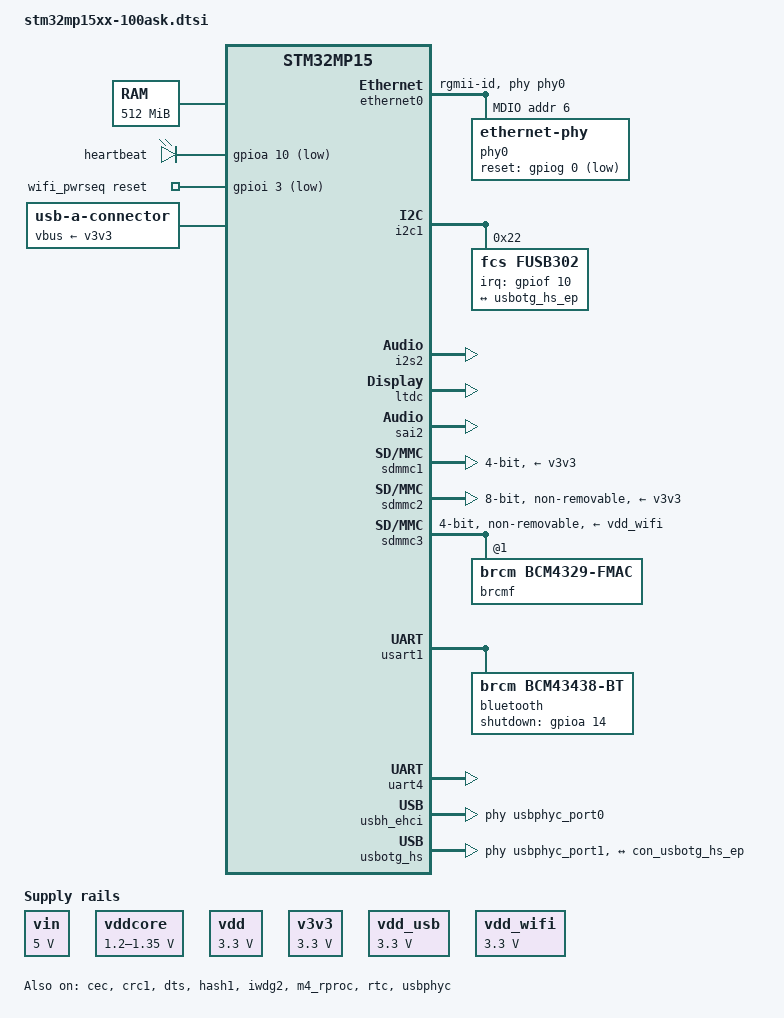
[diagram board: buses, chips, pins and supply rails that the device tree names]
// SPDX-License-Identifier: (GPL-2.0+ OR BSD-3-Clause)
/*
 * Copyright (C) STMicroelectronics 2019 - All Rights Reserved
 * Author: Alexandre Torgue <alexandre.torgue@st.com> for STMicroelectronics.
 */

#include "stm32mp15-m4-srm.dtsi"
#include "stm32mp15-m4-srm-pinctrl.dtsi"
#include <dt-bindings/gpio/gpio.h>
#include <dt-bindings/mfd/st,stpmic1.h>
#include <dt-bindings/net/qca-ar803x.h>
#include <dt-bindings/rtc/rtc-stm32.h>

/ {
	memory@c0000000 {
		device_type = "memory";
		reg = <0xc0000000 0x20000000>;
	};

	reserved-memory {
		#address-cells = <1>;
		#size-cells = <1>;
		ranges;

		mcuram2: mcuram2@10000000 {
			compatible = "shared-dma-pool";
			reg = <0x10000000 0x40000>;
			no-map;
		};

		vdev0vring0: vdev0vring0@10040000 {
			compatible = "shared-dma-pool";
			reg = <0x10040000 0x1000>;
			no-map;
		};

		vdev0vring1: vdev0vring1@10041000 {
			compatible = "shared-dma-pool";
			reg = <0x10041000 0x1000>;
			no-map;
		};

		vdev0buffer: vdev0buffer@10042000 {
			compatible = "shared-dma-pool";
			reg = <0x10042000 0x4000>;
			no-map;
		};

		mcu_rsc_table: mcu_rsc_table@10048000 {
			compatible = "shared-dma-pool";
			reg = <0x10048000 0x8000>;
			no-map;
		};

		mcuram: mcuram@30000000 {
			compatible = "shared-dma-pool";
			reg = <0x30000000 0x40000>;
			no-map;
		};

		retram: retram@38000000 {
			compatible = "shared-dma-pool";
			reg = <0x38000000 0x10000>;
			no-map;
		};

		gpu_reserved: gpu@d4000000 {
			reg = <0xd4000000 0x4000000>;
			no-map;
		};

		optee@de000000 {
			reg = <0xde000000 0x2000000>;
			no-map;
		};
	};

	led {
		compatible = "gpio-leds";
		led-blue {
			label = "heartbeat";
			gpios = <&gpioa 10 GPIO_ACTIVE_LOW>;
			linux,default-trigger = "heartbeat";
			default-state = "off";
		};
	};

	vin: vin {
		compatible = "regulator-fixed";
		regulator-name = "vin";
		regulator-min-microvolt = <5000000>;
		regulator-max-microvolt = <5000000>;
		regulator-always-on;
	};

	vddcore: regulator-vddcore {
		compatible = "regulator-fixed";
		regulator-name = "vddcore";
		regulator-min-microvolt = <1200000>;
		regulator-max-microvolt = <1350000>;
		regulator-always-on;
	};

	vdd: regulator-vdd {
		compatible = "regulator-fixed";
		regulator-name = "vdd";
		regulator-min-microvolt = <3300000>;
		regulator-max-microvolt = <3300000>;
		regulator-always-on;
		regulator-boot-on;
	};
	
	v3v3: regulator-v3v3 {
		compatible = "regulator-fixed";
		regulator-name = "v3v3";
		regulator-min-microvolt = <3300000>;
		regulator-max-microvolt = <3300000>;
		regulator-always-on;
		regulator-boot-on;
	};

		
	vdd_usb: regulator-vdd-usb {
		compatible = "regulator-fixed";
		regulator-name = "vdd_usb";
		regulator-min-microvolt = <3300000>;
		regulator-max-microvolt = <3300000>;
		regulator-always-on;
		regulator-boot-on;
	};

	vdd_wifi: regulator-vdd-wifi {
		pinctrl-names = "default";
		pinctrl-0 = <&vdd_wifi_pins_a>;
		compatible = "regulator-fixed";
		regulator-name = "vdd_wifi";
		regulator-min-microvolt = <3300000>;
		regulator-max-microvolt = <3300000>;
		startup-delay-us = <70000>;
		regulator-boot-on;
		regulator-pull-down;
	 };

	wifi_pwrseq: wifi-pwrseq {
		compatible = "mmc-pwrseq-simple";
		reset-gpios = <&gpioi 3 GPIO_ACTIVE_LOW>;
	};
};

&cec {
	pinctrl-names = "default", "sleep";
	pinctrl-0 = <&cec_pins_b>;
	pinctrl-1 = <&cec_sleep_pins_b>;
	status = "okay";
};

&cpu0{
	cpu-supply = <&vddcore>;
};

&cpu1{
	cpu-supply = <&vddcore>;
};

&crc1 {
	status = "okay";
};

&dma1 {
	sram = <&dma_pool>;
};

&dma2 {
	sram = <&dma_pool>;
};

&dts {
	status = "okay";
};

&ethernet0 {
	status = "okay";
	pinctrl-0 = <&ethernet0_rgmii_pins_a>;
	pinctrl-1 = <&ethernet0_rgmii_sleep_pins_a>;
	pinctrl-names = "default", "sleep";
	phy-mode = "rgmii-id";
	max-speed = <1000>;
	phy-handle = <&phy0>;
	nvmem-cells = <&ethernet_mac_address>;
	nvmem-cell-names = "mac-address";

	mdio0 {
		#address-cells = <1>;
		#size-cells = <0>;
		compatible = "snps,dwmac-mdio";
		phy0: ethernet-phy@6 {
			reg = <6>;
			reset-gpios = <&gpiog 0 GPIO_ACTIVE_LOW>;
			reset-assert-us = <2000>;
			reset-deassert-us = <2000>;
			
			qca,clk-out-frequency = <125000000>;
			qca,keep-pll-enabled;
		};
	};
};

&gpu {
	contiguous-area = <&gpu_reserved>;
};

&hash1 {
	status = "okay";
};

&i2c1 {
	pinctrl-names = "default", "sleep";
	pinctrl-0 = <&i2c1_pins_b>;
	pinctrl-1 = <&i2c1_sleep_pins_b>;
	i2c-scl-rising-time-ns = <100>;
	i2c-scl-falling-time-ns = <7>;
	status = "okay";
	/delete-property/dmas;
	/delete-property/dma-names;

	fusb302@22 {
		compatible = "fcs,fusb302", "st,stusb1600";
		reg = <0x22>;
		interrupts = <10 IRQ_TYPE_EDGE_FALLING>;
		interrupt-parent = <&gpiof>;
		pinctrl-names = "default";
		pinctrl-0 = <&fusb302_pins_a>;
		status = "okay";
	
		typec_con: connector {
			compatible = "usb-c-connector";
			label = "USB-C";
			power-role = "dual";
			power-opmode = "default";

			port {
				con_usbotg_hs_ep: endpoint {
					remote-endpoint = <&usbotg_hs_ep>;
				};
			};
		};
	};
};

&i2c4 {
	pinctrl-names = "default", "sleep";
	pinctrl-0 = <&i2c4_pins_a>;
	pinctrl-1 = <&i2c4_sleep_pins_a>;
	i2c-scl-rising-time-ns = <185>;
	i2c-scl-falling-time-ns = <20>;
	clock-frequency = <400000>;
	status = "disabled";
	/* spare dmas for other usage */
	/delete-property/dmas;
	/delete-property/dma-names;
};

&i2c5 {
	pinctrl-names = "default", "sleep";
	pinctrl-0 = <&i2c5_pins_a>;
	pinctrl-1 = <&i2c5_sleep_pins_a>;
	i2c-scl-rising-time-ns = <185>;
	i2c-scl-falling-time-ns = <20>;
	clock-frequency = <400000>;
	/* spare dmas for other usage */
	/delete-property/dmas;
	/delete-property/dma-names;
	status = "disabled";
};

&i2s2 {
	clocks = <&rcc SPI2>, <&rcc SPI2_K>, <&rcc PLL3_Q>, <&rcc PLL3_R>;
	clock-names = "pclk", "i2sclk", "x8k", "x11k";
	pinctrl-names = "default", "sleep";
	pinctrl-0 = <&i2s2_pins_a>;
	pinctrl-1 = <&i2s2_sleep_pins_a>;
	status = "okay";
};

&ipcc {
	status = "okay";
};

&iwdg2 {
	timeout-sec = <32>;
	status = "okay";
};

&ltdc {
	pinctrl-names = "default", "sleep";
	pinctrl-0 = <&ltdc_pins_a>;
	pinctrl-1 = <&ltdc_sleep_pins_a>;
	status = "okay";
};

&m4_rproc {
	memory-region = <&retram>, <&mcuram>, <&mcuram2>, <&vdev0vring0>,
			<&vdev0vring1>, <&vdev0buffer>, <&mcu_rsc_table>;
	mboxes = <&ipcc 0>, <&ipcc 1>, <&ipcc 2>, <&ipcc 3>;
	mbox-names = "vq0", "vq1", "shutdown", "detach";
	interrupt-parent = <&exti>;
	interrupts = <68 1>;
	wakeup-source;
	status = "okay";
};

&pwr_regulators {
	vdd-supply = <&vdd>;
	vdd_3v3_usbfs-supply = <&vdd_usb>;
};

&rtc {
	st,lsco = <RTC_OUT2_RMP>;
	pinctrl-0 = <&rtc_out2_rmp_pins_a>;
	pinctrl-names = "default";
	status = "okay";
};

&sai2 {
	clocks = <&rcc SAI2>, <&rcc PLL3_Q>, <&rcc PLL3_R>;
	clock-names = "pclk", "x8k", "x11k";
	pinctrl-names = "default", "sleep";
	pinctrl-0 = <&sai2a_pins_a>, <&sai2b_pins_b>;
	pinctrl-1 = <&sai2a_sleep_pins_a>, <&sai2b_sleep_pins_b>;
	status = "okay";
};

&sdmmc1 {
	pinctrl-names = "default", "opendrain", "sleep";
	pinctrl-0 = <&sdmmc1_b4_pins_a>;
	pinctrl-1 = <&sdmmc1_b4_od_pins_a>;
	pinctrl-2 = <&sdmmc1_b4_sleep_pins_a>;
	broken-cd;
	st,neg-edge;
	bus-width = <4>;
	vmmc-supply = <&v3v3>;
	status = "okay";
};

&sdmmc2 {
	pinctrl-names = "default", "opendrain", "sleep";
	pinctrl-0 = <&sdmmc2_b4_pins_a &sdmmc2_d47_pins_a>;
	pinctrl-1 = <&sdmmc2_b4_od_pins_a &sdmmc2_d47_pins_a>;
	pinctrl-2 = <&sdmmc2_b4_sleep_pins_a &sdmmc2_d47_sleep_pins_a>;
	non-removable;
	no-sd;
	no-sdio;
	st,dirpol;
	st,negedge; 
	bus-width = <8>;
	vmmc-supply = <&v3v3>;
	vqmmc-supply = <&v3v3>;
	status = "okay";
};

&sdmmc3 {
	pinctrl-names = "default", "opendrain", "sleep";
	pinctrl-0 = <&sdmmc3_b4_pins_a>;
	pinctrl-1 = <&sdmmc3_b4_od_pins_a>;
	pinctrl-2 = <&sdmmc3_b4_sleep_pins_a>;
	arm,primecell-periphid = <0x10153180>;
	non-removable;
	st,neg-edge;
	bus-width = <4>;
	vmmc-supply = <&vdd_wifi>;
	mmc-pwrseq = <&wifi_pwrseq>;
	#address-cells = <1>;
	#size-cells = <0>;
	keep-power-in-suspend;
	status = "okay";

	brcmf: bcrmf@1 {
		reg = <1>;
		compatible = "brcm,bcm4329-fmac";
	};
};

&spi4 {
	pinctrl-names = "default", "sleep";
	pinctrl-0 = <&spi4_pins_b>;
	pinctrl-1 = <&spi4_sleep_pins_b>;
	status = "disabled";
};

&spi5 {
	pinctrl-names = "default", "sleep";
	pinctrl-0 = <&spi5_pins_a>;
	pinctrl-1 = <&spi5_sleep_pins_a>;
	status = "disabled";
};

&sram {
	dma_pool: dma_pool@0 {
		reg = <0x50000 0x10000>;
		pool;
	};
};

&timers1 {
	/* spare dmas for other usage */
	/delete-property/dmas;
	/delete-property/dma-names;
	status = "disabled";
	pwm {
		pinctrl-0 = <&pwm1_pins_a>;
		pinctrl-1 = <&pwm1_sleep_pins_a>;
		pinctrl-names = "default", "sleep";
		status = "okay";
	};
	timer@0 {
		status = "okay";
	};
};

&timers3 {
	/delete-property/dmas;
	/delete-property/dma-names;
	status = "disabled";
	pwm {
		pinctrl-0 = <&pwm3_pins_a>;
		pinctrl-1 = <&pwm3_sleep_pins_a>;
		pinctrl-names = "default", "sleep";
		status = "okay";
	};
	timer@2 {
		status = "okay";
	};
};

&timers4 {
	/delete-property/dmas;
	/delete-property/dma-names;
	status = "disabled";
	pwm {
		pinctrl-0 = <&pwm4_pins_a &pwm4_pins_b>;
		pinctrl-1 = <&pwm4_sleep_pins_a &pwm4_sleep_pins_b>;
		pinctrl-names = "default", "sleep";
		status = "okay";
	};
	timer@3 {
		status = "okay";
	};
};

&timers5 {
	/delete-property/dmas;
	/delete-property/dma-names;
	status = "disabled";
	pwm {
		pinctrl-0 = <&pwm5_pins_a>;
		pinctrl-1 = <&pwm5_sleep_pins_a>;
		pinctrl-names = "default", "sleep";
		status = "okay";
	};
	timer@4 {
		status = "okay";
	};
};

&timers6 {
	/delete-property/dmas;
	/delete-property/dma-names;
	status = "disabled";
	timer@5 {
		status = "okay";
	};
};

&timers12 {
	/delete-property/dmas;
	/delete-property/dma-names;
	status = "disabled";
	pwm {
		pinctrl-0 = <&pwm12_pins_a>;
		pinctrl-1 = <&pwm12_sleep_pins_a>;
		pinctrl-names = "default", "sleep";
		status = "okay";
	};
	timer@11 {
		status = "okay";
	};
};

&usart1 {
	pinctrl-names = "default", "sleep", "idle";
	pinctrl-0 = <&usart1_pins_a>;
	pinctrl-1 = <&usart1_sleep_pins_a>;
	pinctrl-2 = <&usart1_idle_pins_a>;
	uart-has-rtscts;
	status = "okay";
	
	bluetooth {
		shutdown-gpios = <&gpioa 14 GPIO_ACTIVE_HIGH>;
		compatible = "brcm,bcm43438-bt";
		max-speed = <3000000>;
	};
};

&uart4 {
	pinctrl-names = "default", "sleep", "idle";
	pinctrl-0 = <&uart4_pins_d>;
	pinctrl-1 = <&uart4_sleep_pins_d>;
	pinctrl-2 = <&uart4_idle_pins_d>;
	/delete-property/dmas;
	/delete-property/dma-names;
	status = "okay";
};

&usart6 {
	pinctrl-names = "default";
	pinctrl-0 = <&usart6_pins_a>;
	status = "disabled";
};

&usbh_ehci {
	phys = <&usbphyc_port0>;
	status = "okay";
};

&usbotg_hs {
	phys = <&usbphyc_port1 0>;
	phy-names = "usb2-phy";
	usb-role-switch;
	status = "okay";

	port {
		usbotg_hs_ep: endpoint {
			remote-endpoint = <&con_usbotg_hs_ep>;
		};
	};
};

&usbphyc {
	status = "okay";
};

&usbphyc_port0 {
	phy-supply = <&vdd_usb>;
	st,tune-hs-dc-level = <2>;
	st,enable-fs-rftime-tuning;
	st,enable-hs-rftime-reduction;
	st,trim-hs-current = <15>;
	st,trim-hs-impedance = <1>;
	st,tune-squelch-level = <3>;
	st,tune-hs-rx-offset = <2>;
	st,no-lsfs-sc;

	/*
	 * Hack to keep hub active until all connected devices are suspended
	 * otherwise the hub will be powered off as soon as the v3v3 is disabled
	 * and it can disturb connected devices.
	 */
	connector {
		compatible = "usb-a-connector";
		vbus-supply = <&v3v3>;
	};
};

&usbphyc_port1 {
	phy-supply = <&vdd_usb>;
	st,tune-hs-dc-level = <2>;
	st,enable-fs-rftime-tuning;
	st,enable-hs-rftime-reduction;
	st,trim-hs-current = <15>;
	st,trim-hs-impedance = <1>;
	st,tune-squelch-level = <3>;
	st,tune-hs-rx-offset = <2>;
	st,no-lsfs-sc;
};
